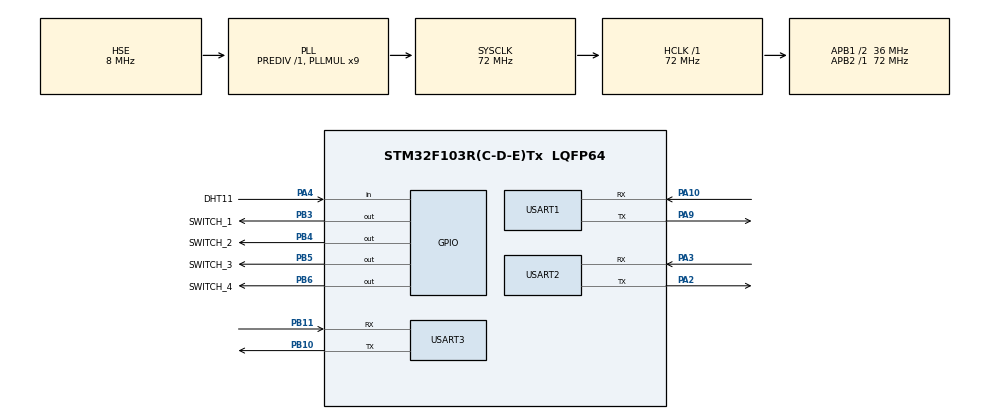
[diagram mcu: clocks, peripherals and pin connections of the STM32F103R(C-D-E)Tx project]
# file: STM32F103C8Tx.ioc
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Dma.Request0=USART1_TX
Dma.Request1=USART1_RX
Dma.Request2=USART3_RX
Dma.Request3=USART3_TX
Dma.USART1_RX.1.Direction=DMA_PERIPH_TO_MEMORY
Dma.USART1_RX.1.Instance=DMA1_Channel5
Dma.USART1_RX.1.MemDataAlignment=DMA_MDATAALIGN_BYTE
Dma.USART1_RX.1.MemInc=DMA_MINC_ENABLE
Dma.USART1_RX.1.Mode=DMA_CIRCULAR
Dma.USART1_RX.1.PeriphDataAlignment=DMA_PDATAALIGN_BYTE
Dma.USART1_RX.1.PeriphInc=DMA_PINC_DISABLE
Dma.USART1_RX.1.Priority=DMA_PRIORITY_LOW
Dma.USART1_TX.0.Direction=DMA_MEMORY_TO_PERIPH
Dma.USART1_TX.0.Instance=DMA1_Channel4
Dma.USART1_TX.0.MemDataAlignment=DMA_MDATAALIGN_BYTE
Dma.USART1_TX.0.MemInc=DMA_MINC_ENABLE
Dma.USART1_TX.0.Mode=DMA_NORMAL
Dma.USART1_TX.0.PeriphDataAlignment=DMA_PDATAALIGN_BYTE
Dma.USART1_TX.0.PeriphInc=DMA_PINC_DISABLE
Dma.USART1_TX.0.Priority=DMA_PRIORITY_LOW
Dma.USART3_RX.2.Direction=DMA_PERIPH_TO_MEMORY
Dma.USART3_RX.2.Instance=DMA1_Channel3
Dma.USART3_RX.2.MemDataAlignment=DMA_MDATAALIGN_BYTE
Dma.USART3_RX.2.MemInc=DMA_MINC_ENABLE
Dma.USART3_RX.2.Mode=DMA_CIRCULAR
Dma.USART3_RX.2.PeriphDataAlignment=DMA_PDATAALIGN_BYTE
Dma.USART3_RX.2.PeriphInc=DMA_PINC_DISABLE
Dma.USART3_RX.2.Priority=DMA_PRIORITY_LOW
Dma.USART3_TX.3.Direction=DMA_MEMORY_TO_PERIPH
Dma.USART3_TX.3.Instance=DMA1_Channel2
Dma.USART3_TX.3.MemDataAlignment=DMA_MDATAALIGN_BYTE
Dma.USART3_TX.3.MemInc=DMA_MINC_ENABLE
Dma.USART3_TX.3.Mode=DMA_NORMAL
Dma.USART3_TX.3.PeriphDataAlignment=DMA_PDATAALIGN_BYTE
Dma.USART3_TX.3.PeriphInc=DMA_PINC_DISABLE
Dma.USART3_TX.3.Priority=DMA_PRIORITY_LOW
FREERTOS.Tasks01=defaultTask,24,128,StartDefaultTask,Default,NULL,Dynamic,NULL,NULL
Mcu.Family=STM32F1
Mcu.Name=STM32F103R(C-D-E)Tx
Mcu.Package=LQFP64
NVIC.DMA1_Channel2_IRQn=true\:5\:0\:false\:false\:true\:true\:false\:true\:true
NVIC.DMA1_Channel3_IRQn=true\:5\:0\:false\:false\:true\:true\:false\:true\:true
NVIC.DMA1_Channel4_IRQn=true\:5\:0\:false\:false\:true\:true\:false\:true\:true
NVIC.DMA1_Channel5_IRQn=true\:5\:0\:false\:false\:true\:true\:false\:true\:true
NVIC.PriorityGroup=NVIC_PRIORITYGROUP_4
NVIC.USART1_IRQn=true\:5\:0\:false\:false\:true\:true\:true\:true\:true
NVIC.USART3_IRQn=true\:5\:0\:false\:false\:true\:true\:true\:true\:true
PA10.Mode=Asynchronous
PA10.Signal=USART1_RX
PA13.Mode=Serial_Wire
PA13.Signal=SYS_JTMS-SWDIO
PA14.Mode=Serial_Wire
PA14.Signal=SYS_JTCK-SWCLK
PA2.Mode=Asynchronous
PA2.Signal=USART2_TX
PA3.Mode=Asynchronous
PA3.Signal=USART2_RX
PA4.GPIO_Label=DHT11
PA4.Signal=GPIO_Input
PA9.Mode=Asynchronous
PA9.Signal=USART1_TX
PB10.Mode=Asynchronous
PB10.Signal=USART3_TX
PB11.GPIO_PuPd=GPIO_NOPULL
PB11.Mode=Asynchronous
PB11.Signal=USART3_RX
PB3.GPIO_Label=SWITCH_1
PB3.Signal=GPIO_Output
PB4.GPIO_Label=SWITCH_2
PB4.Signal=GPIO_Output
PB5.GPIO_Label=SWITCH_3
PB5.Signal=GPIO_Output
PB6.GPIO_Label=SWITCH_4
PB6.Signal=GPIO_Output
PD0-OSC_IN.Mode=HSE-External-Oscillator
PD0-OSC_IN.Signal=RCC_OSC_IN
PD1-OSC_OUT.Mode=HSE-External-Oscillator
PD1-OSC_OUT.Signal=RCC_OSC_OUT
ProjectManager.HeapSize=0x200
ProjectManager.StackSize=0x400
ProjectManager.TargetToolchain=CMake
RCC.AHBFreq_Value=72000000
RCC.APB1CLKDivider=RCC_HCLK_DIV2
RCC.APB1Freq_Value=36000000
RCC.APB1TimFreq_Value=72000000
RCC.APB2Freq_Value=72000000
RCC.APB2TimFreq_Value=72000000
RCC.HCLKFreq_Value=72000000
RCC.PLLMUL=RCC_PLL_MUL9
RCC.PLLSourceVirtual=RCC_PLLSOURCE_HSE
RCC.SYSCLKFreq_VALUE=72000000
RCC.SYSCLKSource=RCC_SYSCLKSOURCE_PLLCLK
RCC.USBFreq_Value=72000000
TIM2.Period=65535-1
TIM2.Prescaler=72-1
USART1.VirtualMode=VM_ASYNC
USART2.VirtualMode=VM_ASYNC
USART3.VirtualMode=VM_ASYNC
VP_FREERTOS_VS_CMSIS_V2.Mode=CMSIS_V2
VP_TIM2_VS_ClockSourceINT.Mode=Internal
VP_TIM3_VS_ClockSourceINT.Mode=Internal
board=custom

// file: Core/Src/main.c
/* USER CODE BEGIN Header */
/**
  ******************************************************************************
  * @file           : main.c
  * @brief          : Main program body
  ******************************************************************************
  * @attention
  *
  * Copyright (c) 2026 STMicroelectronics.
  * All rights reserved.
  *
  * This software is licensed under terms that can be found in the LICENSE file
  * in the root directory of this software component.
  * If no LICENSE file comes with this software, it is provided AS-IS.
  *
  ******************************************************************************
  */
/* USER CODE END Header */
#include "main.h"
#include "cmsis_os.h"

/* USER CODE BEGIN Includes */
#include "stdio.h"
#include "string.h"
#include "memory_monitor.h"
#include "semphr.h"

/* USER CODE END Includes */

TIM_HandleTypeDef htim2;
TIM_HandleTypeDef htim3;

UART_HandleTypeDef huart1;
UART_HandleTypeDef huart2;
UART_HandleTypeDef huart3;
DMA_HandleTypeDef hdma_usart1_tx;
DMA_HandleTypeDef hdma_usart1_rx;
DMA_HandleTypeDef hdma_usart3_rx;
DMA_HandleTypeDef hdma_usart3_tx;

/* Definitions for defaultTask */
osThreadId_t defaultTaskHandle;
const osThreadAttr_t defaultTask_attributes = {
  .name = "defaultTask",
  .stack_size = 128 * 4,
  .priority = (osPriority_t) osPriorityNormal,
};

void SystemClock_Config(void);
static void MX_GPIO_Init(void);
static void MX_DMA_Init(void);
static void MX_TIM2_Init(void);
static void MX_USART1_UART_Init(void);
static void MX_USART2_UART_Init(void);
static void MX_USART3_UART_Init(void);
static void MX_TIM3_Init(void);
void StartDefaultTask(void *argument);

/* USER CODE BEGIN 0 */
extern void main_bridge(void);

int _write(int file, char *ptr, int len) {
  HAL_UART_Transmit(&huart3, (uint8_t *)ptr, len, HAL_MAX_DELAY);
  return len;
}

xSemaphoreHandle g_printMutex = NULL;
/* USER CODE END 0 */

int main(void)
{

  /* MCU Configuration--------------------------------------------------------*/

  /* Reset of all peripherals, Initializes the Flash interface and the Systick. */
  HAL_Init();

  /* Configure the system clock */
  SystemClock_Config();

  /* Initialize all configured peripherals */
  MX_GPIO_Init();
  MX_DMA_Init();
  MX_TIM2_Init();
  MX_USART1_UART_Init();
  MX_USART2_UART_Init();
  MX_USART3_UART_Init();
  MX_TIM3_Init();
  /* USER CODE BEGIN 2 */
  setbuf(stdout, NULL);
  printf("printf test \r\n");
  printf("UART Baudrate: %lu\n", huart3.Init.BaudRate);
  while (1) {
    uint8_t test_byte;
    printf("PRI -1 \r\n");
    if (HAL_UART_Receive(&huart3, &test_byte, 1, 1000) == HAL_OK) {
      printf("PRI -2 \r\n");
      printf("RX: 0x%02X\r\n", test_byte);
    }
    HAL_Delay(100);
  }
  /* USER CODE END 2 */

  /* Init scheduler */
  osKernelInitialize();

  /* Create the thread(s) */
  /* creation of defaultTask */
  defaultTaskHandle = osThreadNew(StartDefaultTask, NULL, &defaultTask_attributes);

  /* USER CODE BEGIN RTOS_THREADS */
  /* add threads, ... */
  // 5. ★ 初始化 ChannelManager（注册所有通道）★
  printf("Starting RTOS Kernel...\r\n");
  // 创建内存监控任务
  CreateMemoryMonitorTask();
  main_bridge();
  /* USER CODE END RTOS_THREADS */

  /* Start scheduler */
  osKernelStart();

  /* We should never get here as control is now taken by the scheduler */

  /* Infinite loop */
  /* USER CODE BEGIN WHILE */
  while (1)
  {
    // if (rx_done) {
    //   rx_done = 0;
    //
    //   // 计算实际接收长度
    //   uint16_t len = RX_BUF_SIZE - __HAL_DMA_GET_COUNTER(huart1.hdmarx);
    //
    //   printf("RX %d bytes: ", len);
    //   for (int i = 0; i < len; i++) {
    //     printf("%02X ", rx_buffer[i]);
    //   }
    //   printf("\r\n");
    // }
    // HAL_Delay(10000);
    /* USER CODE END WHILE */

  }
}

void SystemClock_Config(void)
{
  RCC_OscInitTypeDef RCC_OscInitStruct = {0};
  RCC_ClkInitTypeDef RCC_ClkInitStruct = {0};

  /** Initializes the RCC Oscillators according to the specified parameters
  * in the RCC_OscInitTypeDef structure.
  */
  RCC_OscInitStruct.OscillatorType = RCC_OSCILLATORTYPE_HSE;
  RCC_OscInitStruct.HSEState = RCC_HSE_ON;
  RCC_OscInitStruct.HSEPredivValue = RCC_HSE_PREDIV_DIV1;
  RCC_OscInitStruct.HSIState = RCC_HSI_ON;
  RCC_OscInitStruct.PLL.PLLState = RCC_PLL_ON;
  RCC_OscInitStruct.PLL.PLLSource = RCC_PLLSOURCE_HSE;
  RCC_OscInitStruct.PLL.PLLMUL = RCC_PLL_MUL9;
  if (HAL_RCC_OscConfig(&RCC_OscInitStruct) != HAL_OK)
  {
    Error_Handler();
  }

  /** Initializes the CPU, AHB and APB buses clocks
  */
  RCC_ClkInitStruct.ClockType = RCC_CLOCKTYPE_HCLK|RCC_CLOCKTYPE_SYSCLK
                              |RCC_CLOCKTYPE_PCLK1|RCC_CLOCKTYPE_PCLK2;
  RCC_ClkInitStruct.SYSCLKSource = RCC_SYSCLKSOURCE_PLLCLK;
  RCC_ClkInitStruct.AHBCLKDivider = RCC_SYSCLK_DIV1;
  RCC_ClkInitStruct.APB1CLKDivider = RCC_HCLK_DIV2;
  RCC_ClkInitStruct.APB2CLKDivider = RCC_HCLK_DIV1;

  if (HAL_RCC_ClockConfig(&RCC_ClkInitStruct, FLASH_LATENCY_2) != HAL_OK)
  {
    Error_Handler();
  }
}

static void MX_TIM2_Init(void)
{

  TIM_ClockConfigTypeDef sClockSourceConfig = {0};
  TIM_MasterConfigTypeDef sMasterConfig = {0};

  htim2.Instance = TIM2;
  htim2.Init.Prescaler = 72-1;
  htim2.Init.CounterMode = TIM_COUNTERMODE_UP;
  htim2.Init.Period = 65535-1;
  htim2.Init.ClockDivision = TIM_CLOCKDIVISION_DIV1;
  htim2.Init.AutoReloadPreload = TIM_AUTORELOAD_PRELOAD_DISABLE;
  if (HAL_TIM_Base_Init(&htim2) != HAL_OK)
  {
    Error_Handler();
  }
  sClockSourceConfig.ClockSource = TIM_CLOCKSOURCE_INTERNAL;
  if (HAL_TIM_ConfigClockSource(&htim2, &sClockSourceConfig) != HAL_OK)
  {
    Error_Handler();
  }
  sMasterConfig.MasterOutputTrigger = TIM_TRGO_RESET;
  sMasterConfig.MasterSlaveMode = TIM_MASTERSLAVEMODE_DISABLE;
  if (HAL_TIMEx_MasterConfigSynchronization(&htim2, &sMasterConfig) != HAL_OK)
  {
    Error_Handler();
  }

}

static void MX_TIM3_Init(void)
{

  TIM_ClockConfigTypeDef sClockSourceConfig = {0};
  TIM_MasterConfigTypeDef sMasterConfig = {0};

  htim3.Instance = TIM3;
  htim3.Init.Prescaler = 0;
  htim3.Init.CounterMode = TIM_COUNTERMODE_UP;
  htim3.Init.Period = 65535;
  htim3.Init.ClockDivision = TIM_CLOCKDIVISION_DIV1;
  htim3.Init.AutoReloadPreload = TIM_AUTORELOAD_PRELOAD_DISABLE;
  if (HAL_TIM_Base_Init(&htim3) != HAL_OK)
  {
    Error_Handler();
  }
  sClockSourceConfig.ClockSource = TIM_CLOCKSOURCE_INTERNAL;
  if (HAL_TIM_ConfigClockSource(&htim3, &sClockSourceConfig) != HAL_OK)
  {
    Error_Handler();
  }
  sMasterConfig.MasterOutputTrigger = TIM_TRGO_RESET;
  sMasterConfig.MasterSlaveMode = TIM_MASTERSLAVEMODE_DISABLE;
  if (HAL_TIMEx_MasterConfigSynchronization(&htim3, &sMasterConfig) != HAL_OK)
  {
    Error_Handler();
  }

}

static void MX_USART1_UART_Init(void)
{

  huart1.Instance = USART1;
  huart1.Init.BaudRate = 115200;
  huart1.Init.WordLength = UART_WORDLENGTH_8B;
  huart1.Init.StopBits = UART_STOPBITS_1;
  huart1.Init.Parity = UART_PARITY_NONE;
  huart1.Init.Mode = UART_MODE_TX_RX;
  huart1.Init.HwFlowCtl = UART_HWCONTROL_NONE;
  huart1.Init.OverSampling = UART_OVERSAMPLING_16;
  if (HAL_UART_Init(&huart1) != HAL_OK)
  {
    Error_Handler();
  }

}

static void MX_USART2_UART_Init(void)
{

  huart2.Instance = USART2;
  huart2.Init.BaudRate = 115200;
  huart2.Init.WordLength = UART_WORDLENGTH_8B;
  huart2.Init.StopBits = UART_STOPBITS_1;
  huart2.Init.Parity = UART_PARITY_NONE;
  huart2.Init.Mode = UART_MODE_TX_RX;
  huart2.Init.HwFlowCtl = UART_HWCONTROL_NONE;
  huart2.Init.OverSampling = UART_OVERSAMPLING_16;
  if (HAL_UART_Init(&huart2) != HAL_OK)
  {
    Error_Handler();
  }

}

static void MX_USART3_UART_Init(void)
{

  huart3.Instance = USART3;
  huart3.Init.BaudRate = 115200;
  huart3.Init.WordLength = UART_WORDLENGTH_8B;
  huart3.Init.StopBits = UART_STOPBITS_1;
  huart3.Init.Parity = UART_PARITY_NONE;
  huart3.Init.Mode = UART_MODE_TX_RX;
  huart3.Init.HwFlowCtl = UART_HWCONTROL_NONE;
  huart3.Init.OverSampling = UART_OVERSAMPLING_16;
  if (HAL_UART_Init(&huart3) != HAL_OK)
  {
    Error_Handler();
  }

}

static void MX_DMA_Init(void)
{

  /* DMA controller clock enable */
  __HAL_RCC_DMA1_CLK_ENABLE();

  /* DMA interrupt init */
  /* DMA1_Channel2_IRQn interrupt configuration */
  HAL_NVIC_SetPriority(DMA1_Channel2_IRQn, 5, 0);
  HAL_NVIC_EnableIRQ(DMA1_Channel2_IRQn);
  /* DMA1_Channel3_IRQn interrupt configuration */
  HAL_NVIC_SetPriority(DMA1_Channel3_IRQn, 5, 0);
  HAL_NVIC_EnableIRQ(DMA1_Channel3_IRQn);
  /* DMA1_Channel4_IRQn interrupt configuration */
  HAL_NVIC_SetPriority(DMA1_Channel4_IRQn, 5, 0);
  HAL_NVIC_EnableIRQ(DMA1_Channel4_IRQn);
  /* DMA1_Channel5_IRQn interrupt configuration */
  HAL_NVIC_SetPriority(DMA1_Channel5_IRQn, 5, 0);
  HAL_NVIC_EnableIRQ(DMA1_Channel5_IRQn);

}

static void MX_GPIO_Init(void)
{
  GPIO_InitTypeDef GPIO_InitStruct = {0};

  /* GPIO Ports Clock Enable */
  __HAL_RCC_GPIOD_CLK_ENABLE();
  __HAL_RCC_GPIOA_CLK_ENABLE();
  __HAL_RCC_GPIOB_CLK_ENABLE();

  /*Configure GPIO pin Output Level */
  HAL_GPIO_WritePin(GPIOB, SWITCH_1_Pin|SWITCH_2_Pin|SWITCH_3_Pin|SWITCH_4_Pin, GPIO_PIN_RESET);

  /*Configure GPIO pin : DHT11_Pin */
  GPIO_InitStruct.Pin = DHT11_Pin;
  GPIO_InitStruct.Mode = GPIO_MODE_INPUT;
  GPIO_InitStruct.Pull = GPIO_NOPULL;
  HAL_GPIO_Init(DHT11_GPIO_Port, &GPIO_InitStruct);

  /*Configure GPIO pins : SWITCH_1_Pin SWITCH_2_Pin SWITCH_3_Pin SWITCH_4_Pin */
  GPIO_InitStruct.Pin = SWITCH_1_Pin|SWITCH_2_Pin|SWITCH_3_Pin|SWITCH_4_Pin;
  GPIO_InitStruct.Mode = GPIO_MODE_OUTPUT_PP;
  GPIO_InitStruct.Pull = GPIO_NOPULL;
  GPIO_InitStruct.Speed = GPIO_SPEED_FREQ_LOW;
  HAL_GPIO_Init(GPIOB, &GPIO_InitStruct);

}

void StartDefaultTask(void *argument)
{
  for(;;)
  {
    osDelay(1);
  }
}

void Error_Handler(void)
{
  /* USER CODE BEGIN Error_Handler_Debug */
  /* User can add his own implementation to report the HAL error return state */
  printf("!!! HAL Error_Handler called !!!\n");
  // while (1)
  // {
  // }
  /* USER CODE END Error_Handler_Debug */
}
